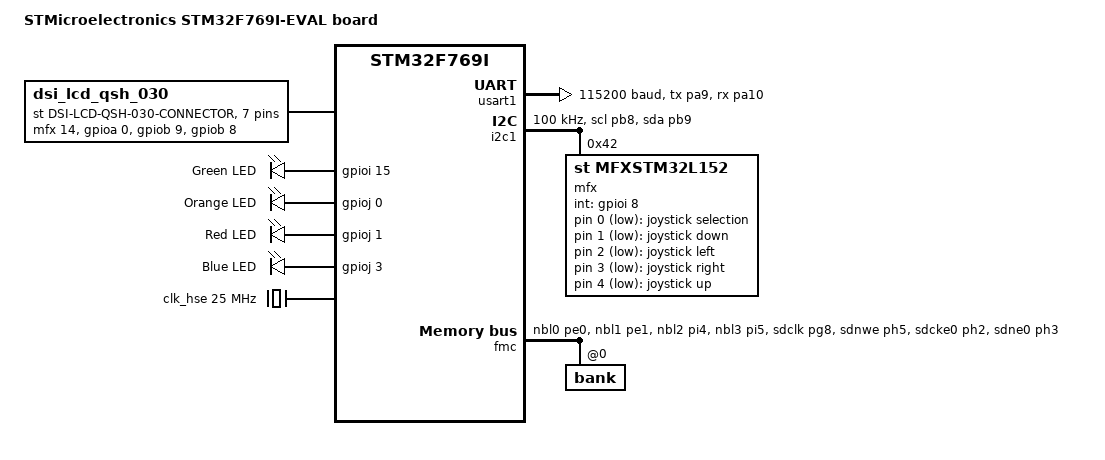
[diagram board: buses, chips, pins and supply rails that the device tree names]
/*
 * SPDX-FileCopyrightText: Copyright 2026 STMicroelectronics
 * SPDX-License-Identifier: Apache-2.0
 */

/dts-v1/;
#include <st/f7/stm32f769Xi.dtsi>
#include <st/f7/stm32f769nihx-pinctrl.dtsi>
#include <zephyr/dt-bindings/input/input-event-codes.h>
#include <zephyr/dt-bindings/memory-attr/memory-attr-arm.h>
#include <zephyr/dt-bindings/mipi_dsi/mipi_dsi.h>

/ {
	model = "STMicroelectronics STM32F769I-EVAL board";
	compatible = "st,stm32f769i-eval";

	chosen {
		zephyr,console = &usart1;
		zephyr,shell-uart = &usart1;
		zephyr,sram = &sram0;
		zephyr,flash = &flash0;
		zephyr,dtcm = &dtcm;
	};

	sdram1: sdram@c0000000 {
		compatible = "zephyr,memory-region", "mmio-sram";
		device_type = "memory";
		reg = <0xc0000000 DT_SIZE_M(32)>;
		zephyr,memory-region = "SDRAM1";
		zephyr,memory-attr = <DT_MEM_ARM(ATTR_MPU_RAM)>;
	};

	dsi_lcd_qsh_030: connector_dsi_lcd {
		compatible = "st,dsi-lcd-qsh-030-connector";
		#gpio-cells = <2>;
		gpio-map-mask = <0xffffffff 0xffffffc0>;
		gpio-map-pass-thru = <0 0x3f>;
		gpio-map = <4 0 &mfx 14 0>,	/* TOUCH_INT */
			   <39 0 &gpioa 0 0>,	/* SPDIF_I2S */
			   <40 0 &gpiob 9 0>,	/* I2C1_SDA */
			   <44 0 &gpiob 8 0>,	/* I2C1_SCL */
			   <49 0 &gpioj 2 0>,	/* DSI_TE */
			   <53 0 &gpioa 8 0>,	/* BL_CTRL */
			   <57 0 &gpiok 7 0>;	/* RESET */
	};

	aliases {
		led0 = &green_led_1;
		led1 = &orange_led_2;
		led2 = &red_led_3;
		led3 = &blue_led_4;
	};

	leds {
		compatible = "gpio-leds";

		green_led_1: led_1 {
			gpios = <&gpioi 15 GPIO_ACTIVE_HIGH>;
			label = "Green LED";
		};

		orange_led_2: led_2 {
			gpios = <&gpioj 0 GPIO_ACTIVE_HIGH>;
			label = "Orange LED";
		};

		red_led_3: led_3 {
			gpios = <&gpioj 1 GPIO_ACTIVE_HIGH>;
			label = "Red LED";
		};

		blue_led_4: led_4 {
			gpios = <&gpioj 3 GPIO_ACTIVE_HIGH>;
			label = "Blue LED";
		};
	};

	gpio_keys {
		compatible = "gpio-keys";

		joy_sel: joystick_selection {
			label = "joystick selection";
			gpios = <&mfx 0 (GPIO_ACTIVE_LOW | GPIO_PULL_UP)>;
			zephyr,code = <INPUT_KEY_ENTER>;
		};

		joy_down: joystick_down {
			label = "joystick down";
			gpios = <&mfx 1 (GPIO_ACTIVE_LOW | GPIO_PULL_UP)>;
			zephyr,code = <INPUT_KEY_DOWN>;
		};

		joy_left: joystick_left {
			label = "joystick left";
			gpios = <&mfx 2 (GPIO_ACTIVE_LOW | GPIO_PULL_UP)>;
			zephyr,code = <INPUT_KEY_LEFT>;
		};

		joy_right: joystick_right {
			label = "joystick right";
			gpios = <&mfx 3 (GPIO_ACTIVE_LOW | GPIO_PULL_UP)>;
			zephyr,code = <INPUT_KEY_RIGHT>;
		};

		joy_up: joystick_up {
			label = "joystick up";
			gpios = <&mfx 4 (GPIO_ACTIVE_LOW | GPIO_PULL_UP)>;
			zephyr,code = <INPUT_KEY_UP>;
		};
	};
};

&clk_hse {
	clock-frequency = <DT_FREQ_M(25)>;
	status = "okay";
};

&pll {
	div-m = <25>;
	mul-n = <432>;
	div-p = <2>;
	div-q = <9>;
	div-r = <7>;
	clocks = <&clk_hse>;
	status = "okay";
};

&rcc {
	clocks = <&pll>;
	clock-frequency = <DT_FREQ_M(216)>;
	ahb-prescaler = <1>;
	apb1-prescaler = <4>;
	apb2-prescaler = <2>;
};

&usart1 {
	pinctrl-0 = <&usart1_tx_pa9 &usart1_rx_pa10>;
	pinctrl-names = "default";
	current-speed = <115200>;
	status = "okay";
};

qsh_030_i2c: &i2c1 {
	pinctrl-0 = <&i2c1_scl_pb8 &i2c1_sda_pb9>;
	pinctrl-names = "default";
	scl-gpios = <&gpiob 8 GPIO_ACTIVE_HIGH>;
	sda-gpios = <&gpiob 9 GPIO_ACTIVE_HIGH>;
	clock-frequency = <I2C_BITRATE_STANDARD>;
	status = "okay";

	mfx: gpio@42 {
		compatible = "st,mfxstm32l152";
		reg = <0x42>;
		ngpios = <24>;
		int-gpios = <&gpioi 8 (GPIO_ACTIVE_HIGH | GPIO_PULL_DOWN)>;
		gpio-controller;
		#gpio-cells = <2>;
	};
};

&dma1 {
	status = "okay";
};

&dma2 {
	status = "okay";
};

&fmc {
	pinctrl-0 = <&fmc_nbl0_pe0 &fmc_nbl1_pe1 &fmc_nbl2_pi4 &fmc_nbl3_pi5
		     &fmc_sdclk_pg8 &fmc_sdnwe_ph5 &fmc_sdcke0_ph2 &fmc_sdne0_ph3
		     &fmc_sdnras_pf11 &fmc_sdncas_pg15
		     &fmc_a0_pf0 &fmc_a1_pf1 &fmc_a2_pf2 &fmc_a3_pf3
		     &fmc_a4_pf4 &fmc_a5_pf5 &fmc_a6_pf12 &fmc_a7_pf13
		     &fmc_a8_pf14 &fmc_a9_pf15 &fmc_a10_pg0 &fmc_a11_pg1
		     &fmc_a12_pg2 &fmc_a14_pg4 &fmc_a15_pg5
		     &fmc_d0_pd14 &fmc_d1_pd15 &fmc_d2_pd0 &fmc_d3_pd1
		     &fmc_d4_pe7 &fmc_d5_pe8 &fmc_d6_pe9 &fmc_d7_pe10
		     &fmc_d8_pe11 &fmc_d9_pe12 &fmc_d10_pe13 &fmc_d11_pe14
		     &fmc_d12_pe15 &fmc_d13_pd8 &fmc_d14_pd9 &fmc_d15_pd10
		     &fmc_d16_ph8 &fmc_d17_ph9 &fmc_d18_ph10 &fmc_d19_ph11
		     &fmc_d20_ph12 &fmc_d21_ph13 &fmc_d22_ph14 &fmc_d23_ph15
		     &fmc_d24_pi0 &fmc_d25_pi1 &fmc_d26_pi2 &fmc_d27_pi3
		     &fmc_d28_pi6 &fmc_d29_pi7 &fmc_d30_pi9 &fmc_d31_pi10>;
	pinctrl-names = "default";
	status = "okay";

	sdram {
		power-up-delay = <100>;
		num-auto-refresh = <8>;
		mode-register = <0x230>;
		refresh-rate = <0x603>;
		status = "okay";

		bank@0 {
			reg = <0>;
			st,sdram-control = <STM32_FMC_SDRAM_NC_9
					    STM32_FMC_SDRAM_NR_12
					    STM32_FMC_SDRAM_MWID_32
					    STM32_FMC_SDRAM_NB_4
					    STM32_FMC_SDRAM_CAS_3
					    STM32_FMC_SDRAM_SDCLK_PERIOD_2
					    STM32_FMC_SDRAM_RBURST_ENABLE
					    STM32_FMC_SDRAM_RPIPE_0>;
			st,sdram-timing = <2 7 4 7 2 2 2>;
		};
	};
};

/* aliases used by display shields */
zephyr_mipi_dsi: &mipi_dsi {};

zephyr_lcd_controller: &ltdc {};
